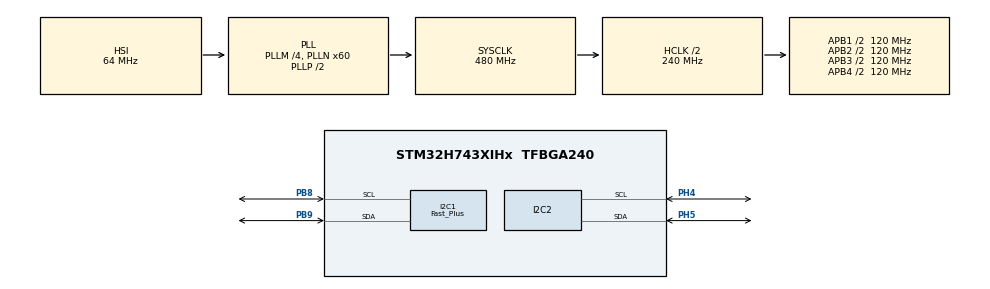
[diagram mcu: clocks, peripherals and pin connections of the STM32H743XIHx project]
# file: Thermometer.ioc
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CORTEX_M7.default_mode_Activation=1
I2C1.I2C_Speed_Mode=I2C_Fast_Plus
I2C1.Timing=0x0050174F
I2C2.Timing=0x307075B1
Mcu.Family=STM32H7
Mcu.Name=STM32H743XIHx
Mcu.Package=TFBGA240
NVIC.PriorityGroup=NVIC_PRIORITYGROUP_4
PB8.Mode=I2C
PB8.Signal=I2C1_SCL
PB9.Mode=I2C
PB9.Signal=I2C1_SDA
PC14-OSC32_IN\ (OSC32_IN).Mode=LSE-External-Oscillator
PC14-OSC32_IN\ (OSC32_IN).Signal=RCC_OSC32_IN
PC15-OSC32_OUT\ (OSC32_OUT).Mode=LSE-External-Oscillator
PC15-OSC32_OUT\ (OSC32_OUT).Signal=RCC_OSC32_OUT
PH0-OSC_IN\ (PH0).Mode=HSE-External-Oscillator
PH0-OSC_IN\ (PH0).Signal=RCC_OSC_IN
PH1-OSC_OUT\ (PH1).Mode=HSE-External-Oscillator
PH1-OSC_OUT\ (PH1).Signal=RCC_OSC_OUT
PH4.Mode=I2C
PH4.Signal=I2C2_SCL
PH5.Mode=I2C
PH5.Signal=I2C2_SDA
ProjectManager.HeapSize=0x200
ProjectManager.StackSize=0x400
ProjectManager.TargetToolchain=STM32CubeIDE
RCC.ADCFreq_Value=129000000
RCC.APB1Freq_Value=120000000
RCC.APB2Freq_Value=120000000
RCC.APB3Freq_Value=120000000
RCC.APB4Freq_Value=120000000
RCC.CortexFreq_Value=480000000
RCC.D1PPRE=RCC_APB3_DIV2
RCC.D2PPRE1=RCC_APB1_DIV2
RCC.D2PPRE2=RCC_APB2_DIV2
RCC.D3PPRE=RCC_APB4_DIV2
RCC.DIVM1=4
RCC.DIVN1=60
RCC.HCLKFreq_Value=240000000
RCC.HPRE=RCC_HCLK_DIV2
RCC.PLL2FRACN=0
RCC.PLL3FRACN=0
RCC.PLLFRACN=0
RCC.SYSCLKFreq_VALUE=480000000
RCC.SYSCLKSource=RCC_SYSCLKSOURCE_PLLCLK
RCC.USBFreq_Value=480000000
board=custom

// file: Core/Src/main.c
/* USER CODE BEGIN Header */
/**
  ******************************************************************************
  * @file           : main.c
  * @brief          : Main program body
  ******************************************************************************
  * @attention
  *
  * Copyright (c) 2024 STMicroelectronics.
  * All rights reserved.
  *
  * This software is licensed under terms that can be found in the LICENSE file
  * in the root directory of this software component.
  * If no LICENSE file comes with this software, it is provided AS-IS.
  *
  ******************************************************************************
  */
/* USER CODE END Header */
#include "main.h"
#include "i2c.h"
#include "gpio.h"

/* USER CODE BEGIN Includes */

#include <stdio.h>
#include "oled.h"
#include "dht20.h"

/* USER CODE END Includes */

void SystemClock_Config(void);
static void MPU_Config(void);

int main(void)
{

  /* MPU Configuration--------------------------------------------------------*/
  MPU_Config();

  /* MCU Configuration--------------------------------------------------------*/

  /* Reset of all peripherals, Initializes the Flash interface and the Systick. */
  HAL_Init();

  /* Configure the system clock */
  SystemClock_Config();

  /* Initialize all configured peripherals */
  MX_GPIO_Init();
  MX_I2C1_Init();
  MX_I2C2_Init();
  /* USER CODE BEGIN 2 */

  HAL_Delay(20);
  OLED_Init();

  HAL_Delay(100);
  DHT20_Init();

  char messageTemp[50] = { 0 };
  char messageHumi[50] = { 0 };
  float temp = 0, humi = 0;

  /* USER CODE END 2 */

  /* Infinite loop */
  /* USER CODE BEGIN WHILE */
  while (1)
  {
	  DHT20_Read(&temp, &humi);

	  sprintf(messageTemp, "Temp: %.1f ℃", temp);
	  sprintf(messageHumi, "Humi: %.1f %%", humi);

	  OLED_NewFrame();
	  OLED_PrintString(0, 0, messageTemp, &font16x16, OLED_COLOR_NORMAL);
	  OLED_PrintString(0, 17, messageHumi, &font16x16, OLED_COLOR_NORMAL);
	  OLED_ShowFrame();

	  HAL_Delay(1000);

    /* USER CODE END WHILE */

  }
}

void SystemClock_Config(void)
{
  RCC_OscInitTypeDef RCC_OscInitStruct = {0};
  RCC_ClkInitTypeDef RCC_ClkInitStruct = {0};

  /** Supply configuration update enable
  */
  HAL_PWREx_ConfigSupply(PWR_LDO_SUPPLY);

  /** Configure the main internal regulator output voltage
  */
  __HAL_PWR_VOLTAGESCALING_CONFIG(PWR_REGULATOR_VOLTAGE_SCALE1);

  while(!__HAL_PWR_GET_FLAG(PWR_FLAG_VOSRDY)) {}

  __HAL_RCC_SYSCFG_CLK_ENABLE();
  __HAL_PWR_VOLTAGESCALING_CONFIG(PWR_REGULATOR_VOLTAGE_SCALE0);

  while(!__HAL_PWR_GET_FLAG(PWR_FLAG_VOSRDY)) {}

  /** Initializes the RCC Oscillators according to the specified parameters
  * in the RCC_OscInitTypeDef structure.
  */
  RCC_OscInitStruct.OscillatorType = RCC_OSCILLATORTYPE_HSI;
  RCC_OscInitStruct.HSIState = RCC_HSI_DIV1;
  RCC_OscInitStruct.HSICalibrationValue = RCC_HSICALIBRATION_DEFAULT;
  RCC_OscInitStruct.PLL.PLLState = RCC_PLL_ON;
  RCC_OscInitStruct.PLL.PLLSource = RCC_PLLSOURCE_HSI;
  RCC_OscInitStruct.PLL.PLLM = 4;
  RCC_OscInitStruct.PLL.PLLN = 60;
  RCC_OscInitStruct.PLL.PLLP = 2;
  RCC_OscInitStruct.PLL.PLLQ = 2;
  RCC_OscInitStruct.PLL.PLLR = 2;
  RCC_OscInitStruct.PLL.PLLRGE = RCC_PLL1VCIRANGE_3;
  RCC_OscInitStruct.PLL.PLLVCOSEL = RCC_PLL1VCOWIDE;
  RCC_OscInitStruct.PLL.PLLFRACN = 0;
  if (HAL_RCC_OscConfig(&RCC_OscInitStruct) != HAL_OK)
  {
    Error_Handler();
  }

  /** Initializes the CPU, AHB and APB buses clocks
  */
  RCC_ClkInitStruct.ClockType = RCC_CLOCKTYPE_HCLK|RCC_CLOCKTYPE_SYSCLK
                              |RCC_CLOCKTYPE_PCLK1|RCC_CLOCKTYPE_PCLK2
                              |RCC_CLOCKTYPE_D3PCLK1|RCC_CLOCKTYPE_D1PCLK1;
  RCC_ClkInitStruct.SYSCLKSource = RCC_SYSCLKSOURCE_PLLCLK;
  RCC_ClkInitStruct.SYSCLKDivider = RCC_SYSCLK_DIV1;
  RCC_ClkInitStruct.AHBCLKDivider = RCC_HCLK_DIV2;
  RCC_ClkInitStruct.APB3CLKDivider = RCC_APB3_DIV2;
  RCC_ClkInitStruct.APB1CLKDivider = RCC_APB1_DIV2;
  RCC_ClkInitStruct.APB2CLKDivider = RCC_APB2_DIV2;
  RCC_ClkInitStruct.APB4CLKDivider = RCC_APB4_DIV2;

  if (HAL_RCC_ClockConfig(&RCC_ClkInitStruct, FLASH_LATENCY_4) != HAL_OK)
  {
    Error_Handler();
  }
}

 /* MPU Configuration */

void MPU_Config(void)
{
  MPU_Region_InitTypeDef MPU_InitStruct = {0};

  /* Disables the MPU */
  HAL_MPU_Disable();

  /** Initializes and configures the Region and the memory to be protected
  */
  MPU_InitStruct.Enable = MPU_REGION_ENABLE;
  MPU_InitStruct.Number = MPU_REGION_NUMBER0;
  MPU_InitStruct.BaseAddress = 0x0;
  MPU_InitStruct.Size = MPU_REGION_SIZE_4GB;
  MPU_InitStruct.SubRegionDisable = 0x87;
  MPU_InitStruct.TypeExtField = MPU_TEX_LEVEL0;
  MPU_InitStruct.AccessPermission = MPU_REGION_NO_ACCESS;
  MPU_InitStruct.DisableExec = MPU_INSTRUCTION_ACCESS_DISABLE;
  MPU_InitStruct.IsShareable = MPU_ACCESS_SHAREABLE;
  MPU_InitStruct.IsCacheable = MPU_ACCESS_NOT_CACHEABLE;
  MPU_InitStruct.IsBufferable = MPU_ACCESS_NOT_BUFFERABLE;

  HAL_MPU_ConfigRegion(&MPU_InitStruct);
  /* Enables the MPU */
  HAL_MPU_Enable(MPU_PRIVILEGED_DEFAULT);

}

void Error_Handler(void)
{
  __disable_irq();
  while (1)
  {
  }
}
